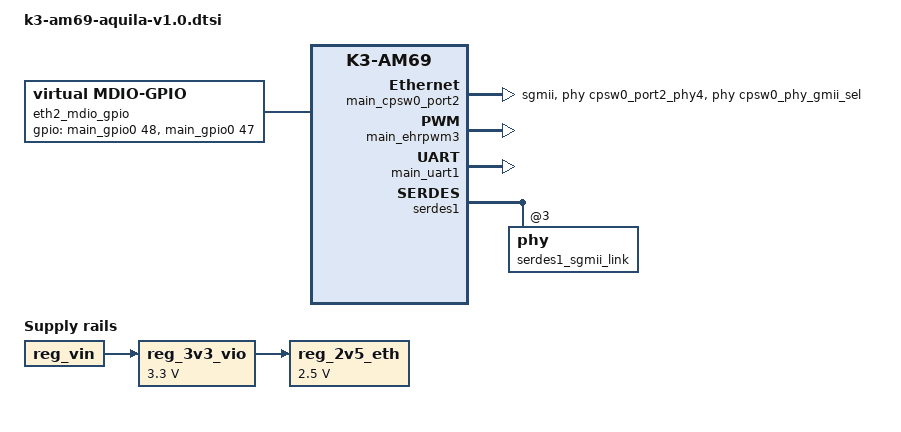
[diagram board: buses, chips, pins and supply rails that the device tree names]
// SPDX-License-Identifier: GPL-2.0-or-later OR MIT
/*
 * Copyright (C) 2025 Toradex
 *
 * Common dtsi for Toradex Aquila AM69 SoM V1.0
 *
 * This file restores support for Aquila AM69 V1.0 SoMs after adjusting
 * the base device-tree (k3-am69-aquila.dtsi) to support Aquila AM69 V1.1.
 * It re-enables pinmux and serdes settings for V1.0 affected interfaces
 * like ETH_2, PWM_2, UART_1, and GPIOs, while disabling V1.1-only
 * interfaces to avoid conflicts.
 */

&{/} {
	aliases {
		ethernet1 = &main_cpsw0_port2;
		mdio-gpio0 = &eth2_mdio_gpio;
		serial0 = &main_uart1;
	};

	reg_3v3_dp: regulator-3v3-dp {
		pinctrl-names = "default";
		pinctrl-0 = <&pinctrl_gpio21_dp>;
		/* Aquila GPIO_21_DP (AQUILA B57) */
		gpio = <&main_gpio0 37 GPIO_ACTIVE_HIGH>;
	};

	/* Enabled by EN_3V3_VIO (PMIC_GPIO_9) */
	reg_3v3_vio: regulator-3v3-vio {
		compatible = "regulator-fixed";
		regulator-max-microvolt = <3300000>;
		regulator-min-microvolt = <3300000>;
		regulator-name = "+V3.3_VIO";
		vin-supply = <&reg_vin>;
	};

	/* Enabled by +V1.8_MCU_IO */
	reg_2v5_eth: regulator-2v5-eth {
		compatible = "regulator-fixed";
		regulator-max-microvolt = <2500000>;
		regulator-min-microvolt = <2500000>;
		regulator-name = "+V2.5_VIO";
		vin-supply = <&reg_3v3_vio>;
	};

	/* Aquila ETH_2_XGMII_MDIO (GPIO bit-banging) */
	eth2_mdio_gpio: mdio {
		compatible = "virtual,mdio-gpio";
		pinctrl-names = "default";
		pinctrl-0 = <&pinctrl_eth2_mdc>, <&pinctrl_eth2_mdio>;
		#address-cells = <1>;
		#size-cells = <0>;
		gpios = <&main_gpio0 48 GPIO_ACTIVE_HIGH>, /* MDC */
			<&main_gpio0 47 GPIO_ACTIVE_HIGH>; /* MDIO */
		status = "okay";

		cpsw0_port2_phy4: ethernet-phy@4 {
			reg = <4>;
			pinctrl-names = "default";
			pinctrl-0 = <&pinctrl_eth2_int>;
			interrupt-parent = <&main_gpio0>;
			interrupts = <44 IRQ_TYPE_EDGE_FALLING>;
		};
	};
};

/* Aquila ETH_2 SGMII PHY (V1.1)*/
&main_cpsw0_port8 {
	status = "disabled";
};

/* Aquila ETH_2 SGMII PHY */
&main_cpsw0_port2 {
	phy-mode = "sgmii";
	phys = <&cpsw0_phy_gmii_sel 2>, <&serdes1_sgmii_link>;
	phy-names = "mac", "serdes";
	phy-handle = <&cpsw0_port2_phy4>;
	status = "okay";
};

/* Aquila ETH_2_XGMII_MDIO (V1.1) */
&main_cpsw0_mdio {
	status = "disabled";
};

/* Aquila PWM_2 (V1.1) */
&main_ehrpwm1 {
	status = "disabled";
};

/* Aquila PWM_2 */
&main_ehrpwm3 {
	pinctrl-names = "default";
	pinctrl-0 = <&pinctrl_main_ehrpwm3_a>;
	status = "okay";
};

&main_gpio0 {
	gpio-line-names =
		"", /* 0 */
		"AQUILA_B17",
		"AQUILA_B18",
		"AQUILA_B53",
		"AQUILA_B54",
		"AQUILA_B59",
		"AQUILA_C18",
		"AQUILA_C19",
		"AQUILA_A13",
		"AQUILA_A12",
		"AQUILA_B75", /* 10 */
		"AQUILA_B77",
		"AQUILA_B42",
		"AQUILA_B44",
		"AQUILA_D19",
		"AQUILA_D20",
		"AQUILA_B58",
		"AQUILA_D24",
		"AQUILA_B45",
		"AQUILA_C06",
		"AQUILA_C05", /* 20 */
		"AQUILA_B35",
		"AQUILA_B37",
		"AQUILA_B36",
		"AQUILA_B38",
		"AQUILA_C25",
		"AQUILA_B22",
		"AQUILA_B21",
		"AQUILA_B74",
		"AQUILA_D25",
		"AQUILA_B24", /* 30 */
		"AQUILA_B43",
		"AQUILA_C38",
		"AQUILA_B46",
		"AQUILA_D23",
		"AQUILA_C26",
		"AQUILA_A11",
		"AQUILA_B57",
		"AQUILA_B19",
		"AQUILA_D09",
		"AQUILA_D12", /* 40 */
		"AQUILA_C35",
		"AQUILA_D10",
		"AQUILA_D11",
		"AQUILA_B81",
		"AQUILA_B48",
		"AQUILA_B49",
		"AQUILA_B89",
		"AQUILA_B90",
		"AQUILA_B23",
		"AQUILA_B20", /* 50 */
		"AQUILA_D16",
		"AQUILA_A06",
		"AQUILA_D14",
		"AQUILA_D15",
		"AQUILA_D17",
		"AQUILA_B41",
		"AQUILA_B40",
		"AQUILA_A01",
		"",
		"AQUILA_A08", /* 60 */
		"AQUILA_A10",
		"AQUILA_A02",
		"AQUILA_A03",
		"AQUILA_A05",
		"AQUILA_A07";

	status = "okay";
};

&main_pmx0 {
	/* Aquila PWM_2 */
	pinctrl_main_ehrpwm3_a: main-ehrpwm3a-default-pins {
		pinctrl-single,pins = <
			J784S4_IOPAD(0x08c, PIN_OUTPUT, 9) /* (AE35) MCASP0_AXR7.EHRPWM3_A */ /* AQUILA C26 */
		>;
	};

	/* Aquila GPIO_11_CSI_1 */
	pinctrl_gpio11_csi_1: main-gpio0-36-default-pins {
		pinctrl-single,pins = <
			J784S4_IOPAD(0x090, PIN_INPUT, 7) /* (AC35) MCASP0_AXR8.GPIO0_36 */ /* AQUILA A11 */
		>;
	};

	/* Aquila GPIO_21_DP */
	pinctrl_gpio21_dp: main-gpio0-37-default-pins {
		pinctrl-single,pins = <
			J784S4_IOPAD(0x094, PIN_INPUT, 7) /* (AG35) MCASP0_AXR9.GPIO0_37 */ /* AQUILA B57 */
		>;
	};

	/* Aquila GPIO_12_CSI_1 */
	pinctrl_gpio12_csi_1: main-gpio0-38-default-pins {
		pinctrl-single,pins = <
			J784S4_IOPAD(0x098, PIN_INPUT, 7) /* (AH36) MCASP0_AXR10.GPIO0_38 */ /* AQUILA B19 */
		>;
	};


	/* Aquila ETH_2_XGMII_MDIO as GPIO */
	pinctrl_eth2_mdio: main-gpio0-47-default-pins {
		pinctrl-single,pins = <
			J784S4_IOPAD(0x0bc, PIN_INPUT, 7)  /* (AD33) MCASP1_AFSX.GPIO0_47 */ /* AQUILA B89 */
		>;
	};

	/* Aquila ETH_2_XGMII_MDC as GPIO */
	pinctrl_eth2_mdc: main-gpio0-48-default-pins {
		pinctrl-single,pins = <
			J784S4_IOPAD(0x0c0, PIN_INPUT, 7) /* (AD38) MCASP1_AXR0.GPIO0_48 */ /* AQUILA B90 */
		>;
	};

	/* Aquila UART_1 */
	pinctrl_main_uart1: main-uart1-default-pins {
		pinctrl-single,pins = <
			J784S4_IOPAD(0x05c, PIN_INPUT, 11)  /* (AC36) MCASP2_AXR0.UART1_CTSn */ /* AQUILA B36 */
			J784S4_IOPAD(0x060, PIN_OUTPUT, 11) /* (AE36) MCASP2_AXR1.UART1_RTSn */ /* AQUILA B38 */
			J784S4_IOPAD(0x054, PIN_INPUT, 11)  /* (AD37) MCASP2_ACLKX.UART1_RXD */ /* AQUILA B35 */
			J784S4_IOPAD(0x058, PIN_OUTPUT, 11) /* (AE37) MCASP2_AFSX.UART1_TXD  */ /* AQUILA B37 */
		>;
	};
};

/* Aquila UART_1 */
&main_uart1 {
	pinctrl-names = "default";
	pinctrl-0 = <&pinctrl_main_uart1>;
	status = "okay";
};

/* Aquila UART_1 (V1.1) */
&main_uart4 {
	status = "disabled";
};

&pmic_tps6594 {
	regulators {
		/delete-node/buck5;
		buck5 {
			regulator-always-on;
			regulator-boot-on;
			regulator-max-microvolt = <850000>;
			regulator-min-microvolt = <850000>;
			regulator-name = "+V0.85_VDD_MCU (PMIC BUCK5)";
		};

		/delete-node/ldo2;
		ldo2 {
			regulator-always-on;
			regulator-boot-on;
			regulator-min-microvolt = <1800000>;
			regulator-max-microvolt = <1800000>;
			regulator-name = "+V1.8_MCU_IO (PMIC LDO2)";
		};
	};
};

&serdes1 {
	status = "okay";

	/* Aquila ETH_2 xGMII */
	serdes1_sgmii_link: phy@3 {
		reg = <3>;
		#phy-cells = <0>;
		resets = <&serdes_wiz1 4>;
		cdns,num-lanes = <1>;
		cdns,phy-type = <PHY_TYPE_SGMII>;
	};
};

&serdes2 {
	status = "disabled";
};

&serdes_wiz2 {
	status = "disabled";
};
